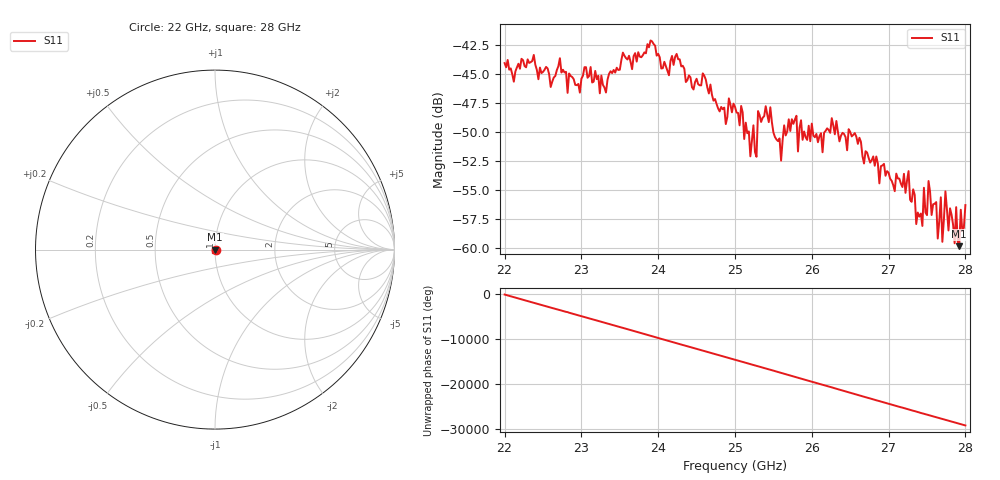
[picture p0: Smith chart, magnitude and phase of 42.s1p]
#  HZ  S  RI  R  50.00
! Rohde & Schwarz ZVA40 4Ports - Version 3.90 - 1145.1110k42 SN: 100403
! Date: 2023-10-04 07:33:55
! Measurement: S12
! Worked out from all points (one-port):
!   301 points, 22 GHz to 28 GHz, reference 50 ohm
!   lowest |S11| = -59.8 dB at 27.92 GHz (marker M1), VSWR 1.00, Z = 50.1 - j0.0485 ohm
!   |S11| at or under -10 dB: start of sweep to end of sweep
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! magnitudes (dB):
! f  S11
! 22 GHz  -44.0
! 22.76 GHz  -44.6
! 23.5 GHz  -44.6
! 24.26 GHz  -43.7
! 25 GHz  -47.8
! 25.2 GHz  -52.1
! 25.24 GHz  -49.4
! 25.28 GHz  -52.1
! 25.3 GHz  -48.2
! 25.46 GHz  -47.8
! 25.6 GHz  -52.4
! 25.76 GHz  -49.3
! 26.5 GHz  -50.0
! 26.88 GHz  -54.4
! 27.26 GHz  -53.3
! 27.36 GHz  -57.9
! 27.44 GHz  -58.1
! 27.46 GHz  -54.8
! 27.5 GHz  -57.1
! 27.52 GHz  -54.2
! 27.64 GHz  -59.1
! 27.68 GHz  -55.6
! 27.7 GHz  -59.4
! 27.74 GHz  -55.1
! 27.78 GHz  -58.5
! 27.88 GHz  -56.4
! 27.92 GHz  -59.8
! 28 GHz  -56.3
